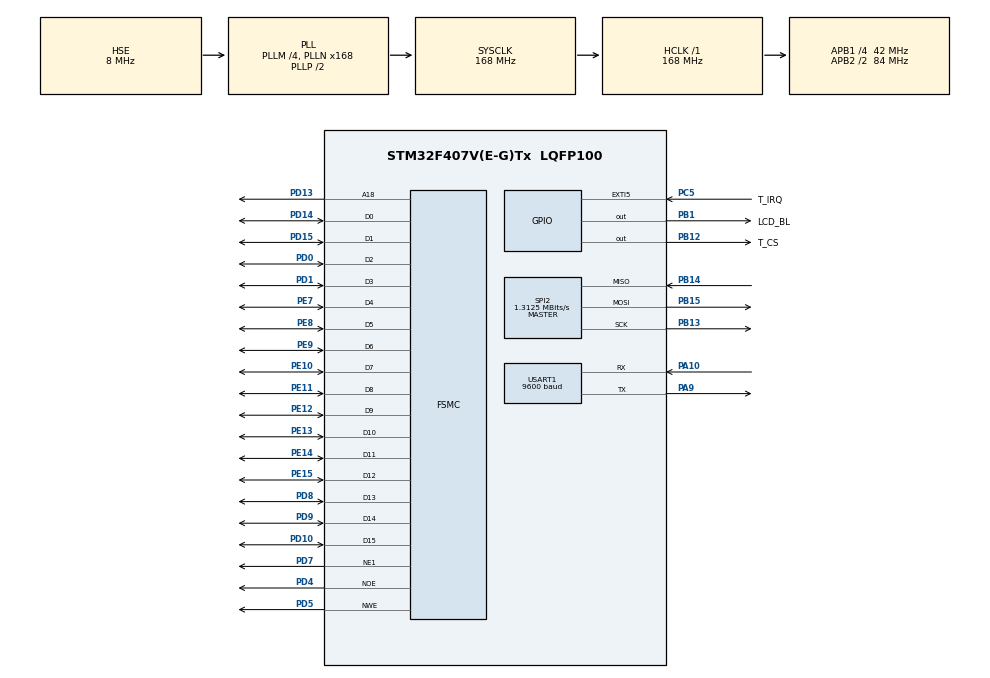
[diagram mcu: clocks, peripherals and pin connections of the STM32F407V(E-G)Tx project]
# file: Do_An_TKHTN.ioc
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FSMC.AddressSetupTime1=1
FSMC.BusTurnAroundDuration1=0
FSMC.DataSetupTime1=5
Mcu.Family=STM32F4
Mcu.Name=STM32F407V(E-G)Tx
Mcu.Package=LQFP100
NVIC.EXTI9_5_IRQn=true\:0\:0\:false\:false\:true\:true\:true\:true
NVIC.PriorityGroup=NVIC_PRIORITYGROUP_4
NVIC.USART1_IRQn=true\:0\:0\:false\:false\:true\:true\:true\:true
PA10.Mode=Asynchronous
PA10.Signal=USART1_RX
PA9.Mode=Asynchronous
PA9.Signal=USART1_TX
PB1.GPIO_Label=LCD_BL
PB1.Signal=GPIO_Output
PB12.GPIO_Label=T_CS
PB12.GPIO_PuPd=GPIO_PULLUP
PB12.GPIO_Speed=GPIO_SPEED_FREQ_HIGH
PB12.PinState=GPIO_PIN_SET
PB12.Signal=GPIO_Output
PB13.Mode=Full_Duplex_Master
PB13.Signal=SPI2_SCK
PB14.Mode=Full_Duplex_Master
PB14.Signal=SPI2_MISO
PB15.Mode=Full_Duplex_Master
PB15.Signal=SPI2_MOSI
PC5.GPIO_Label=T_IRQ
PC5.GPIO_ModeDefaultEXTI=GPIO_MODE_IT_FALLING
PC5.GPIO_PuPd=GPIO_PULLUP
PC5.Signal=GPXTI5
PD0.Mode=16b-d1
PD0.Signal=FSMC_D2
PD1.Mode=16b-d1
PD1.Signal=FSMC_D3
PD10.Mode=16b-d1
PD10.Signal=FSMC_D15
PD13.Mode=A18_1
PD13.Signal=FSMC_A18
PD14.Mode=16b-d1
PD14.Signal=FSMC_D0
PD15.Mode=16b-d1
PD15.Signal=FSMC_D1
PD4.Mode=Lcd1
PD4.Signal=FSMC_NOE
PD5.Mode=Lcd1
PD5.Signal=FSMC_NWE
PD7.Mode=NorPsramChipSelect1_1
PD7.Signal=FSMC_NE1
PD8.Mode=16b-d1
PD8.Signal=FSMC_D13
PD9.Mode=16b-d1
PD9.Signal=FSMC_D14
PE10.Mode=16b-d1
PE10.Signal=FSMC_D7
PE11.Mode=16b-d1
PE11.Signal=FSMC_D8
PE12.Mode=16b-d1
PE12.Signal=FSMC_D9
PE13.Mode=16b-d1
PE13.Signal=FSMC_D10
PE14.Mode=16b-d1
PE14.Signal=FSMC_D11
PE15.Mode=16b-d1
PE15.Signal=FSMC_D12
PE7.Mode=16b-d1
PE7.Signal=FSMC_D4
PE8.Mode=16b-d1
PE8.Signal=FSMC_D5
PE9.Mode=16b-d1
PE9.Signal=FSMC_D6
PH0-OSC_IN.Mode=HSE-External-Oscillator
PH0-OSC_IN.Signal=RCC_OSC_IN
PH1-OSC_OUT.Mode=HSE-External-Oscillator
PH1-OSC_OUT.Signal=RCC_OSC_OUT
ProjectManager.HeapSize=0x200
ProjectManager.StackSize=0x400
ProjectManager.TargetToolchain=STM32CubeIDE
RCC.48MHZClocksFreq_Value=84000000
RCC.AHBFreq_Value=168000000
RCC.APB1CLKDivider=RCC_HCLK_DIV4
RCC.APB1Freq_Value=42000000
RCC.APB1TimFreq_Value=84000000
RCC.APB2CLKDivider=RCC_HCLK_DIV2
RCC.APB2Freq_Value=84000000
RCC.APB2TimFreq_Value=168000000
RCC.CortexFreq_Value=168000000
RCC.HCLKFreq_Value=168000000
RCC.HSE_VALUE=8000000
RCC.HSI_VALUE=16000000
RCC.LSE_VALUE=32768
RCC.PLLM=4
RCC.PLLN=168
RCC.PLLSourceVirtual=RCC_PLLSOURCE_HSE
RCC.SYSCLKFreq_VALUE=168000000
RCC.SYSCLKSource=RCC_SYSCLKSOURCE_PLLCLK
RCC.VCOOutputFreq_Value=336000000
SPI2.BaudRatePrescaler=SPI_BAUDRATEPRESCALER_32
SPI2.CalculateBaudRate=1.3125 MBits/s
SPI2.Direction=SPI_DIRECTION_2LINES
SPI2.Mode=SPI_MODE_MASTER
SPI2.VirtualType=VM_MASTER
USART1.BaudRate=9600
USART1.VirtualMode=VM_ASYNC
board=custom

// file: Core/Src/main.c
/* USER CODE BEGIN Header */
/**
  ******************************************************************************
  * @file           : main.c
  * @brief          : Main program body
  ******************************************************************************
  * @attention
  *
  * Copyright (c) 2024 STMicroelectronics.
  * All rights reserved.
  *
  * This software is licensed under terms that can be found in the LICENSE file
  * in the root directory of this software component.
  * If no LICENSE file comes with this software, it is provided AS-IS.
  *
  ******************************************************************************
  */
/* USER CODE END Header */
#include "main.h"

/* USER CODE BEGIN Includes */
#include "ili9341.h"
#include <time.h>
#include <stdlib.h>
#include <cJSON.h>
#include <string.h>
#include "XPT2046_touch.h"
/* USER CODE END Includes */

/* USER CODE BEGIN PD */
#define min(a,b) (((a)<(b))?(a):(b))
#define BUFFER_SIZE 1024
#define PORTRAIT 0
#define NOBACKCOLOR 0
#define NHATRANG 0
#define SAIGON 1
#define HANOI 2
#define TAMPERE 3
#define ARNHEM 4
#define SYDNEY 5
/* USER CODE END PD */

SPI_HandleTypeDef hspi2;

UART_HandleTypeDef huart1;

SRAM_HandleTypeDef hsram1;

/* USER CODE BEGIN PV */
//URLs to call API
const char* nhaTrangURL = "http://api.open-meteo.com/v1/forecast?latitude=12.2451&longitude=109.1943&current=temperature_2m,relative_humidity_2m,is_day&daily=weather_code&timezone=auto\r\n";
const char* saiGonURL = "http://api.open-meteo.com/v1/forecast?latitude=10.823&longitude=106.6296&current=temperature_2m,relative_humidity_2m,is_day&daily=weather_code&timezone=auto\r\n";
const char* haNoiURL = "http://api.open-meteo.com/v1/forecast?latitude=20.9714&longitude=105.7788&current=temperature_2m,relative_humidity_2m,is_day&daily=weather_code&timezone=auto\r\n";
const char* tampereURL = "http://api.open-meteo.com/v1/forecast?latitude=61.4991&longitude=23.7871&current=temperature_2m,relative_humidity_2m,is_day&daily=weather_code&timezone=auto\r\n";
const char* arnhemURL = "http://api.open-meteo.com/v1/forecast?latitude=51.98&longitude=5.9111&current=temperature_2m,relative_humidity_2m,is_day&daily=weather_code&timezone=auto\r\n";
const char* sydneyURL = "http://api.open-meteo.com/v1/forecast?latitude=-33.8678&longitude=151.2073&current=temperature_2m,relative_humidity_2m,is_day&daily=weather_code&timezone=auto\r\n";
//Variables for handling received UART data
uint8_t tempBuffer[1];
uint8_t rxBuffer[BUFFER_SIZE];
uint16_t rxIndex = 0;
uint8_t rxComplete = 0;

//Variables for switching between UIs
uint16_t xCoordinates = 0, yCoordinates = 0;
uint8_t menu = 1;

//Variables for weather data handling
int weather[7];
int currentTemperature = 0;
int currentHumidity = 0;
int currentCity = 0;
uint16_t weatherIndex = 0;
uint16_t dateIndex = 0;
uint8_t processComplete = 0;
uint8_t isDay = 0;
char* date[7];
/* USER CODE END PV */

void SystemClock_Config(void);
static void MX_GPIO_Init(void);
static void MX_FSMC_Init(void);
static void MX_USART1_UART_Init(void);
static void MX_SPI2_Init(void);

/* USER CODE BEGIN 0 */
void drawMenuIcon();
void drawMenu();
void drawBufferScreen();
void checkCoordinates();
void drawWeather(uint16_t xPosition, uint16_t yPosition, int weatherCode);
void drawInterface();
void reformatDate();
void sendAPIURL(uint16_t chooseCity);
void HAL_UART_RxCpltCallback(UART_HandleTypeDef *huart);
void processWeatherData(const char *jsonData);
void HAL_GPIO_EXTI_Callback(uint16_t GPIO_Pin);
void resetBuffer();
void demo();
/* USER CODE END 0 */

int main(void)
{

  /* MCU Configuration--------------------------------------------------------*/

  /* Reset of all peripherals, Initializes the Flash interface and the Systick. */
  HAL_Init();

  /* Configure the system clock */
  SystemClock_Config();

  /* Initialize all configured peripherals */
  MX_GPIO_Init();
  MX_FSMC_Init();
  MX_USART1_UART_Init();
  MX_SPI2_Init();
  /* USER CODE BEGIN 2 */
  LCD_BL_ON();
  lcdInit();
  lcdSetOrientation(PORTRAIT);
  lcdFillRGB(COLOR_BLACK);
  HAL_UART_Receive_IT(&huart1, (uint8_t*)tempBuffer, 1);
  drawMenu();
  /* USER CODE END 2 */

  /* Infinite loop */
  /* USER CODE BEGIN WHILE */
  while (1)
  {
	  if(rxComplete)
	  {
		  rxComplete = 0;
		  rxIndex = 0;
		  processWeatherData((const char*) rxBuffer);
		  if (processComplete)
		  {
			  processComplete = 0;
			  weatherIndex = 0;
			  dateIndex = 0;
			  drawInterface();
		  }
		  resetBuffer();
		  HAL_UART_Receive_IT(&huart1, (uint8_t*)tempBuffer, 1);
	  }
	  HAL_Delay(1000);
    /* USER CODE END WHILE */

  }
}

void SystemClock_Config(void)
{
  RCC_OscInitTypeDef RCC_OscInitStruct = {0};
  RCC_ClkInitTypeDef RCC_ClkInitStruct = {0};

  /** Configure the main internal regulator output voltage
  */
  __HAL_RCC_PWR_CLK_ENABLE();
  __HAL_PWR_VOLTAGESCALING_CONFIG(PWR_REGULATOR_VOLTAGE_SCALE1);

  /** Initializes the RCC Oscillators according to the specified parameters
  * in the RCC_OscInitTypeDef structure.
  */
  RCC_OscInitStruct.OscillatorType = RCC_OSCILLATORTYPE_HSE;
  RCC_OscInitStruct.HSEState = RCC_HSE_ON;
  RCC_OscInitStruct.PLL.PLLState = RCC_PLL_ON;
  RCC_OscInitStruct.PLL.PLLSource = RCC_PLLSOURCE_HSE;
  RCC_OscInitStruct.PLL.PLLM = 4;
  RCC_OscInitStruct.PLL.PLLN = 168;
  RCC_OscInitStruct.PLL.PLLP = RCC_PLLP_DIV2;
  RCC_OscInitStruct.PLL.PLLQ = 4;
  if (HAL_RCC_OscConfig(&RCC_OscInitStruct) != HAL_OK)
  {
    Error_Handler();
  }

  /** Initializes the CPU, AHB and APB buses clocks
  */
  RCC_ClkInitStruct.ClockType = RCC_CLOCKTYPE_HCLK|RCC_CLOCKTYPE_SYSCLK
                              |RCC_CLOCKTYPE_PCLK1|RCC_CLOCKTYPE_PCLK2;
  RCC_ClkInitStruct.SYSCLKSource = RCC_SYSCLKSOURCE_PLLCLK;
  RCC_ClkInitStruct.AHBCLKDivider = RCC_SYSCLK_DIV1;
  RCC_ClkInitStruct.APB1CLKDivider = RCC_HCLK_DIV4;
  RCC_ClkInitStruct.APB2CLKDivider = RCC_HCLK_DIV2;

  if (HAL_RCC_ClockConfig(&RCC_ClkInitStruct, FLASH_LATENCY_5) != HAL_OK)
  {
    Error_Handler();
  }
}

static void MX_SPI2_Init(void)
{

  /* SPI2 parameter configuration*/
  hspi2.Instance = SPI2;
  hspi2.Init.Mode = SPI_MODE_MASTER;
  hspi2.Init.Direction = SPI_DIRECTION_2LINES;
  hspi2.Init.DataSize = SPI_DATASIZE_8BIT;
  hspi2.Init.CLKPolarity = SPI_POLARITY_LOW;
  hspi2.Init.CLKPhase = SPI_PHASE_1EDGE;
  hspi2.Init.NSS = SPI_NSS_SOFT;
  hspi2.Init.BaudRatePrescaler = SPI_BAUDRATEPRESCALER_32;
  hspi2.Init.FirstBit = SPI_FIRSTBIT_MSB;
  hspi2.Init.TIMode = SPI_TIMODE_DISABLE;
  hspi2.Init.CRCCalculation = SPI_CRCCALCULATION_DISABLE;
  hspi2.Init.CRCPolynomial = 10;
  if (HAL_SPI_Init(&hspi2) != HAL_OK)
  {
    Error_Handler();
  }

}

static void MX_USART1_UART_Init(void)
{

  huart1.Instance = USART1;
  huart1.Init.BaudRate = 9600;
  huart1.Init.WordLength = UART_WORDLENGTH_8B;
  huart1.Init.StopBits = UART_STOPBITS_1;
  huart1.Init.Parity = UART_PARITY_NONE;
  huart1.Init.Mode = UART_MODE_TX_RX;
  huart1.Init.HwFlowCtl = UART_HWCONTROL_NONE;
  huart1.Init.OverSampling = UART_OVERSAMPLING_16;
  if (HAL_UART_Init(&huart1) != HAL_OK)
  {
    Error_Handler();
  }

}

static void MX_GPIO_Init(void)
{
  GPIO_InitTypeDef GPIO_InitStruct = {0};

  /* GPIO Ports Clock Enable */
  __HAL_RCC_GPIOH_CLK_ENABLE();
  __HAL_RCC_GPIOC_CLK_ENABLE();
  __HAL_RCC_GPIOB_CLK_ENABLE();
  __HAL_RCC_GPIOE_CLK_ENABLE();
  __HAL_RCC_GPIOD_CLK_ENABLE();
  __HAL_RCC_GPIOA_CLK_ENABLE();

  /*Configure GPIO pin Output Level */
  HAL_GPIO_WritePin(LCD_BL_GPIO_Port, LCD_BL_Pin, GPIO_PIN_RESET);

  /*Configure GPIO pin Output Level */
  HAL_GPIO_WritePin(T_CS_GPIO_Port, T_CS_Pin, GPIO_PIN_SET);

  /*Configure GPIO pin : T_IRQ_Pin */
  GPIO_InitStruct.Pin = T_IRQ_Pin;
  GPIO_InitStruct.Mode = GPIO_MODE_IT_FALLING;
  GPIO_InitStruct.Pull = GPIO_PULLUP;
  HAL_GPIO_Init(T_IRQ_GPIO_Port, &GPIO_InitStruct);

  /*Configure GPIO pin : LCD_BL_Pin */
  GPIO_InitStruct.Pin = LCD_BL_Pin;
  GPIO_InitStruct.Mode = GPIO_MODE_OUTPUT_PP;
  GPIO_InitStruct.Pull = GPIO_NOPULL;
  GPIO_InitStruct.Speed = GPIO_SPEED_FREQ_LOW;
  HAL_GPIO_Init(LCD_BL_GPIO_Port, &GPIO_InitStruct);

  /*Configure GPIO pin : T_CS_Pin */
  GPIO_InitStruct.Pin = T_CS_Pin;
  GPIO_InitStruct.Mode = GPIO_MODE_OUTPUT_PP;
  GPIO_InitStruct.Pull = GPIO_PULLUP;
  GPIO_InitStruct.Speed = GPIO_SPEED_FREQ_HIGH;
  HAL_GPIO_Init(T_CS_GPIO_Port, &GPIO_InitStruct);

  /* EXTI interrupt init*/
  HAL_NVIC_SetPriority(EXTI9_5_IRQn, 0, 0);
  HAL_NVIC_EnableIRQ(EXTI9_5_IRQn);

}

/* FSMC initialization function */
static void MX_FSMC_Init(void)
{

  FSMC_NORSRAM_TimingTypeDef Timing = {0};

  /** Perform the SRAM1 memory initialization sequence
  */
  hsram1.Instance = FSMC_NORSRAM_DEVICE;
  hsram1.Extended = FSMC_NORSRAM_EXTENDED_DEVICE;
  /* hsram1.Init */
  hsram1.Init.NSBank = FSMC_NORSRAM_BANK1;
  hsram1.Init.DataAddressMux = FSMC_DATA_ADDRESS_MUX_DISABLE;
  hsram1.Init.MemoryType = FSMC_MEMORY_TYPE_SRAM;
  hsram1.Init.MemoryDataWidth = FSMC_NORSRAM_MEM_BUS_WIDTH_16;
  hsram1.Init.BurstAccessMode = FSMC_BURST_ACCESS_MODE_DISABLE;
  hsram1.Init.WaitSignalPolarity = FSMC_WAIT_SIGNAL_POLARITY_LOW;
  hsram1.Init.WrapMode = FSMC_WRAP_MODE_DISABLE;
  hsram1.Init.WaitSignalActive = FSMC_WAIT_TIMING_BEFORE_WS;
  hsram1.Init.WriteOperation = FSMC_WRITE_OPERATION_ENABLE;
  hsram1.Init.WaitSignal = FSMC_WAIT_SIGNAL_DISABLE;
  hsram1.Init.ExtendedMode = FSMC_EXTENDED_MODE_DISABLE;
  hsram1.Init.AsynchronousWait = FSMC_ASYNCHRONOUS_WAIT_DISABLE;
  hsram1.Init.WriteBurst = FSMC_WRITE_BURST_DISABLE;
  hsram1.Init.PageSize = FSMC_PAGE_SIZE_NONE;
  /* Timing */
  Timing.AddressSetupTime = 1;
  Timing.AddressHoldTime = 15;
  Timing.DataSetupTime = 5;
  Timing.BusTurnAroundDuration = 0;
  Timing.CLKDivision = 16;
  Timing.DataLatency = 17;
  Timing.AccessMode = FSMC_ACCESS_MODE_A;
  /* ExtTiming */

  if (HAL_SRAM_Init(&hsram1, &Timing, NULL) != HAL_OK)
  {
    Error_Handler( );
  }

}

/* USER CODE BEGIN 4 */
void drawMenuIcon()
{
	lcdFillRoundRect(0, 0, 35, 23, 8, COLOR_WHITE);
	lcdFillRoundRect(3, 4, 29, 3, 2, COLOR_BLACK);
	lcdFillRoundRect(3, 10, 29, 3, 2, COLOR_BLACK);
	lcdFillRoundRect(3, 16, 29, 3, 2, COLOR_BLACK);
}

void drawMenu()
{
	lcdSetTextFont(&Font16);
	lcdSetTextColor(COLOR_WHITE, COLOR_BLACK);
	lcdFillRGB(COLOR_BLACK);
	menu = 1;
	drawAlignedText("Choose a location", 0, 240, 16, NOBACKCOLOR);

	lcdSetTextColor(COLOR_BLACK, COLOR_BLACK);
	lcdFillRoundRect(0, 32, 240, 40, 10, COLOR_WHITE);
	drawAlignedText("Sai Gon", 45, 240, 16, NOBACKCOLOR);

	lcdFillRoundRect(0, 80, 240, 40, 10, COLOR_WHITE);
	drawAlignedText("Nha Trang", 93, 240, 16, NOBACKCOLOR);

	lcdFillRoundRect(0, 128, 240, 40, 10, COLOR_WHITE);
	drawAlignedText("Ha Noi", 141, 240, 16, NOBACKCOLOR);

	lcdFillRoundRect(0, 176, 240, 40, 10, COLOR_WHITE);
	drawAlignedText("Tampere", 189, 240, 16, NOBACKCOLOR);

	lcdFillRoundRect(0, 224, 240, 40, 10, COLOR_WHITE);
	drawAlignedText("Arnhem", 237, 240, 16, NOBACKCOLOR);

	lcdFillRoundRect(0, 272, 240, 40, 10, COLOR_WHITE);
	drawAlignedText("Sydney", 285, 240, 16, NOBACKCOLOR);
}

void drawBufferScreen()
{
	menu = 0;
	lcdFillRGB(COLOR_BLACK);
	drawMenuIcon();
	lcdSetTextColor(COLOR_WHITE, COLOR_BLACK);
	drawAlignedText("Fetching weather data", 160, 240, 16, NOBACKCOLOR);
}

void checkCoordinates()
{
	if ((yCoordinates <= 30 && xCoordinates <= 30) && menu != 1)
	{
		drawMenu();
	}
	if ((yCoordinates >= 32 && yCoordinates <= 72) && menu == 1)
	{
		drawBufferScreen();
		sendAPIURL(SAIGON);
		currentCity = 1;
	}
	if ((yCoordinates >= 80 && yCoordinates <= 120) && menu == 1)
	{
		drawBufferScreen();
		sendAPIURL(NHATRANG);
		currentCity = 0;
	}
	if ((yCoordinates >= 128 && yCoordinates <= 168) && menu == 1)
	{
		drawBufferScreen();
		sendAPIURL(HANOI);
		currentCity = 2;
	}
	if ((yCoordinates >= 176 && yCoordinates <= 216) && menu == 1)
	{
		drawBufferScreen();
		sendAPIURL(TAMPERE);
		currentCity = 3;
	}
	if ((yCoordinates >= 224 && yCoordinates <= 264) && menu == 1)
	{
		drawBufferScreen();
		sendAPIURL(ARNHEM);
		currentCity = 4;
	}
	if ((yCoordinates >= 272 && yCoordinates <= 312) && menu == 1)
	{
		drawBufferScreen();
		sendAPIURL(SYDNEY);
		currentCity = 5;
	}
}

void drawWeather(uint16_t xPosition, uint16_t yPosition, int weatherCode)
{
	if (weatherCode == 0)
	{
		drawClearDay(xPosition, yPosition);
	}
	else if (weatherCode >= 1 && weatherCode <= 3)
	{
		drawCloudyDay(xPosition, yPosition);
	}
	else if ((weatherCode >= 51 && weatherCode <= 67) || (weatherCode >= 80 && weatherCode <= 82))
	{
		drawRainyDay(xPosition, yPosition);
	}
	else if ((weatherCode >= 71 && weatherCode <= 77) || (weatherCode == 85 || weatherCode == 86))
	{
		drawSnowyDay(xPosition, yPosition);
	}
	else if (weatherCode >= 95 && weatherCode <= 99)
	{
		drawStormyDay(xPosition, yPosition);
	}
	else if (weatherCode == 45 || weatherCode == 48)
	{
		drawFoggyDay(xPosition, yPosition);
	}
}

void drawInterface()
{
	menu = 0;
	uint16_t color;
	if (isDay == 0)
	{
		lcdDrawImage(0, 0, &imageNight);
		color = COLOR_NAVY;
		lcdSetTextColor(COLOR_WHITE, COLOR_BLACK);
	}
	else
	{
		lcdDrawImage(0, 0, &imageDay);
		color = COLOR_CYAN;
		lcdSetTextColor(COLOR_BLACK, COLOR_BLACK);
	}
	drawMenuIcon();

	for (int y = 160; y < 320; y++)
	{
		for (int x = 0; x < 240; x++)
		{
		    lcdDrawPixel(x, y, color);
		}
	}

	lcdSetTextFont(&Font12);

	reformatDate();

	drawWeather(40, 190, weather[0]);
	lcdSetCursor(25, 160);
	lcdPrintfNoBackColor(date[0]);

	drawWeather(90, 190, weather[1]);
	lcdSetCursor(75, 160);
	lcdPrintfNoBackColor(date[1]);

	drawWeather(150, 190, weather[2]);
	lcdSetCursor(135, 160);
	lcdPrintfNoBackColor(date[2]);

	drawWeather(200, 190, weather[3]);
	lcdSetCursor(185, 160);
	lcdPrintfNoBackColor(date[3]);

	drawWeather(65, 270, weather[4]);
	lcdSetCursor(50, 240);
	lcdPrintfNoBackColor(date[4]);

	drawWeather(120, 270, weather[5]);
	lcdSetCursor(105, 240);
	lcdPrintfNoBackColor(date[5]);

	drawWeather(175, 270, weather[6]);
	lcdSetCursor(160, 240);
	lcdPrintfNoBackColor(date[6]);

	lcdSetCursor(80, 110);
	lcdPrintfNoBackColor("Humidity: %d%%", currentHumidity);
	lcdSetTextFont(&Font20);
	lcdSetCursor(110, 90);
	lcdPrintfNoBackColor("%d", currentTemperature);

	switch (currentCity)
	{
	case NHATRANG:
		drawAlignedText("Nha Trang", 10, 240, NOBACKCOLOR);
	case SAIGON:
		drawAlignedText("Sai Gon", 10, 240, NOBACKCOLOR);
	case HANOI:
		drawAlignedText("Ha Noi", 10, 240, NOBACKCOLOR);
	case TAMPERE:
		drawAlignedText("Tampere", 10, 240, NOBACKCOLOR);
	case ARNHEM:
		drawAlignedText("Arnhem", 10, 240, NOBACKCOLOR);
	case SYDNEY:
		drawAlignedText("Sydney", 10, 240, NOBACKCOLOR);
	}
}

void demo()
{
	lcdFillRGB(COLOR_NAVY);
	lcdSetTextColor(COLOR_WHITE, COLOR_BLACK);
	drawClearDay(40, 190);
	lcdSetCursor(25, 160);
	lcdPrintfNoBackColor("test 1");

	drawCloudyDay(90, 190);
	lcdSetCursor(75, 160);
	lcdPrintfNoBackColor("test 2");

	drawRainyDay(150, 190);
	lcdSetCursor(135, 160);
	lcdPrintfNoBackColor("test 3");

	drawSnowyDay(200, 190);
	lcdSetCursor(185, 160);
	lcdPrintfNoBackColor("test 4");

	drawFoggyDay(65, 270);
	lcdSetCursor(50, 240);
	lcdPrintfNoBackColor("test 5");

	drawStormyDay(120, 270);
	lcdSetCursor(105, 240);
	lcdPrintfNoBackColor("test 6");

	drawClearDay(175, 270);
	lcdSetCursor(160, 240);
	lcdPrintfNoBackColor("test 7");

	lcdSetCursor(80, 110);
	lcdPrintfNoBackColor("Humidity: test%");
	lcdSetTextFont(&Font20);
	lcdSetCursor(110, 90);
	lcdPrintfNoBackColor("test");
}

void reformatDate()
{
	char temp[6];
	for (int i = 0; i < 7; i++)
	{
	    if (date[i])
	    {
	        strncpy(temp, &date[i][8], 2);
	        temp[2] = '-';
	        strncpy(&temp[3], &date[i][5], 2);
	        temp[5] = '\0';
	        strcpy(date[i], temp);
	    }
	}
}

void sendAPIURL(uint16_t chooseCity)
{
    switch(chooseCity)
    {
    case NHATRANG:
    	HAL_UART_Transmit(&huart1, (uint8_t*)nhaTrangURL, strlen(nhaTrangURL), HAL_MAX_DELAY);
    	break;
    case SAIGON:
    	HAL_UART_Transmit(&huart1, (uint8_t*)saiGonURL, strlen(saiGonURL), HAL_MAX_DELAY);
    	break;
    case HANOI:
    	HAL_UART_Transmit(&huart1, (uint8_t*)haNoiURL, strlen(haNoiURL), HAL_MAX_DELAY);
    	break;
    case TAMPERE:
    	HAL_UART_Transmit(&huart1, (uint8_t*)tampereURL, strlen(tampereURL), HAL_MAX_DELAY);
    	break;
    case ARNHEM:
    	HAL_UART_Transmit(&huart1, (uint8_t*)arnhemURL, strlen(arnhemURL), HAL_MAX_DELAY);
    	break;
    case SYDNEY:
    	HAL_UART_Transmit(&huart1, (uint8_t*)sydneyURL, strlen(sydneyURL), HAL_MAX_DELAY);
    	break;
    }
}

void HAL_UART_RxCpltCallback(UART_HandleTypeDef *huart)
{
	if (rxIndex < BUFFER_SIZE - 1)
	{
		if (tempBuffer[0] == '!')
		{
			rxComplete = 1;
			return;
		}
		else if (tempBuffer[0] == '?')
		{
			lcdPrintf("Error fetching data\n");
			lcdPrintf("Go back to menu!\n");
			rxIndex = 0;
			resetBuffer();
			HAL_UART_Receive_IT(&huart1, (uint8_t*)tempBuffer, 1);
			return;
		}
		rxBuffer[rxIndex++] = tempBuffer[0];
	}
	else
	{
	    rxIndex = 0;
	}
	HAL_UART_Receive_IT(&huart1, (uint8_t*)tempBuffer, 1);
}

void processWeatherData(const char *jsonData)
{
    cJSON *root = cJSON_Parse(jsonData);
    if (root == NULL)
    {
        lcdPrintf("Error parsing JSON\n");
        lcdPrintf("Go back to menu!\n");
        cJSON_Delete(root);
        return;
    }

    cJSON *current = cJSON_GetObjectItem(root, "current");
    if (current)
    {
        cJSON *temperature = cJSON_GetObjectItem(current, "temperature_2m");
        cJSON *humidity = cJSON_GetObjectItem(current, "relative_humidity_2m");
        cJSON *dayOrNight = cJSON_GetObjectItem(current, "is_day");
        if (temperature)
        {
        	currentTemperature = temperature->valueint;
        }
        if (humidity)
        {
        	currentHumidity = humidity->valueint;
        }
        if (dayOrNight)
        {
        	isDay = dayOrNight->valueint;
        }
    }

    cJSON *daily = cJSON_GetObjectItem(root, "daily");
    if (daily)
    {
    	cJSON *weatherCodes = cJSON_GetObjectItem(daily, "weather_code");
    	cJSON *dateCodes = cJSON_GetObjectItem(daily, "time");
    	if (dateCodes && cJSON_IsArray(dateCodes))
    	{
    		for (int i = 0; i < 7; i++)
    	    {
    	        cJSON *dates = cJSON_GetArrayItem(dateCodes, i);
    	        if (dates)
    	        {
    	        	date[dateIndex++] = strdup(dates->valuestring);
    	        }
    	    }
    	}
        if (weatherCodes && cJSON_IsArray(weatherCodes))
        {
            for (int i = 0; i < 7; i++)
            {
                cJSON *code = cJSON_GetArrayItem(weatherCodes, i);
                if (code)
                {
                    weather[weatherIndex++] = code->valueint;
                }
            }
        }
    }
    processComplete = 1;
    cJSON_Delete(root);
}

void HAL_GPIO_EXTI_Callback(uint16_t GPIO_Pin)
{
	if (GPIO_Pin == T_IRQ_Pin)
	{
		if(XPT2046_TouchPressed())
		{
			if(XPT2046_TouchGetCoordinates(&xCoordinates, &yCoordinates))
			{
				xCoordinates = 240 - xCoordinates;
				yCoordinates = 320 - yCoordinates;
				checkCoordinates();
			}
		}
	}
}

void resetBuffer()
{
	for (int i = 0; i < sizeof(rxBuffer); i++)
	{
		rxBuffer[i] = 0;
	}
}
/* USER CODE END 4 */

void Error_Handler(void)
{
  __disable_irq();
  while (1)
  {
  }
}
